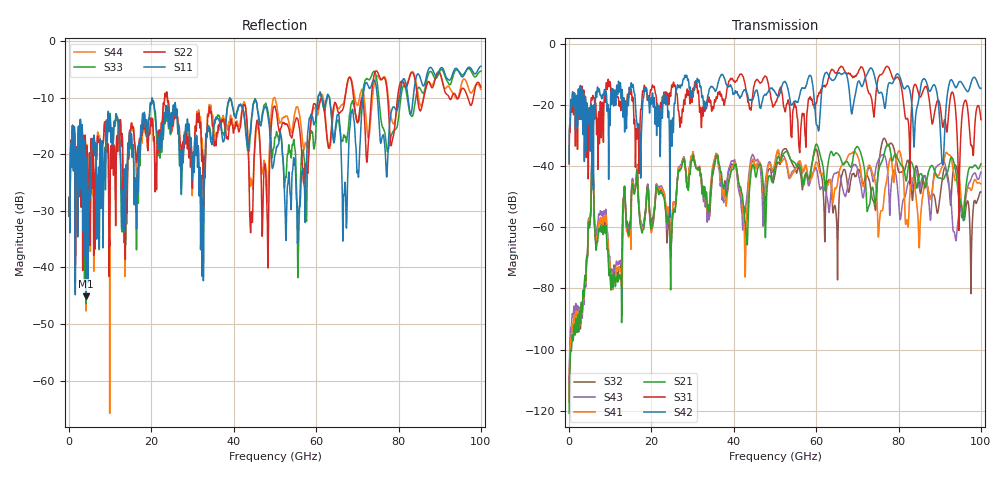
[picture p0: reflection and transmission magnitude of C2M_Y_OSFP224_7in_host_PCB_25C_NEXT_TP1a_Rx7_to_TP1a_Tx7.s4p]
# GHz S RI R 45
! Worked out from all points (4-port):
!   4000 points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, 25 MHz to 100 GHz, reference 45 ohm
!   strongest paths, dB at 25 MHz, 25.02 GHz, 50.02 GHz, 75.03 GHz, 100 GHz:
!     S42: -38.8, -30.3, -16.0, -15.6, -14.6
!     S31: -39.3, -13.7, -19.6, -11.5, -24.8
!     S21: -120.8, -59.1, -40.8, -42.7, -39.3
!     S41: -116.9, -57.0, -38.7, -60.9, -45.8
!     S43: -113.7, -56.7, -38.7, -38.3, -42.0
!     S32: -117.1, -59.3, -42.6, -42.4, -48.5
!   lowest |S11| = -45.1 dB at 4.15 GHz (marker M1), VSWR 1.01, Z = 44.8 + j0.438 ohm
!   |S11| at or under -10 dB: start of sweep to 20.14 GHz; 20.18 GHz to 38.95 GHz (18.77 GHz wide, 63.5 % of centre); 39.09 GHz to 60.47 GHz (21.38 GHz wide, 42.9 % of centre)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
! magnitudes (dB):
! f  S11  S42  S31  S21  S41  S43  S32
! 25 MHz  -30.9  -38.8  -39.3  -120.8  -116.9  -113.7  -117.1
! 4.15 GHz  -45.1  -35.2  -25.3  -74.0  -74.4  -75.7  -75.0
! 5.6 GHz  -18.6  -29.0  -18.4  -38.8  -38.7  -38.5  -38.6
! 11.55 GHz  -13.1  -13.8  -16.7  -76.2  -73.0  -71.1  -74.3
! 30.07 GHz  -20.1  -17.5  -14.8  -36.6  -35.5  -35.3  -36.4
! 42.73 GHz  -14.4  -15.2  -13.1  -58.4  -73.8  -53.4  -53.9
! 100 GHz  -4.4  -14.6  -24.8  -39.3  -45.8  -42.0  -48.5
